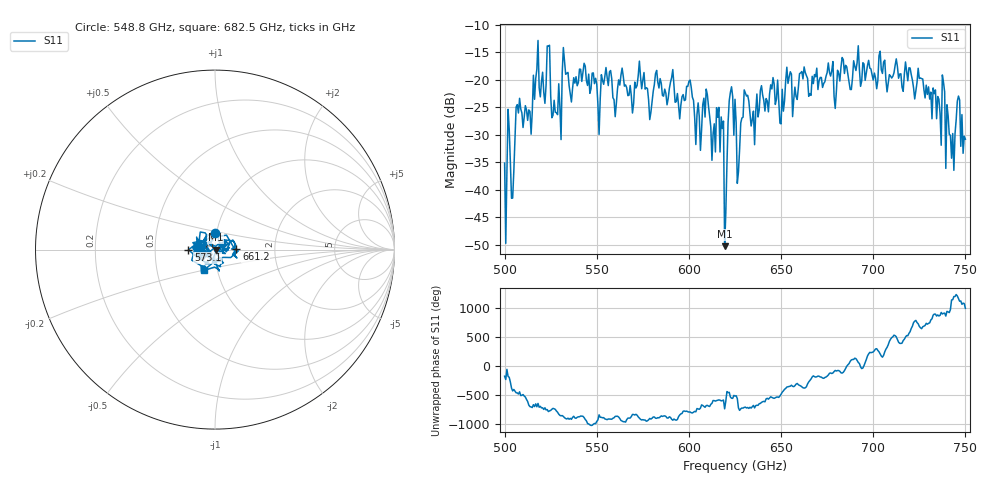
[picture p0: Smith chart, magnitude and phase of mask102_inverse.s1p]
!Created with skrf (http://scikit-rf.org).
# GHz S MA R 50.0
!freq magS11 angS11
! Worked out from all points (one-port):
!   401 points, 500 GHz to 750 GHz, reference 50 ohm
!   lowest |S11| = -50.3 dB at 619.4 GHz (marker M1), VSWR 1.01, Z = 50.3 - j0.097 ohm
!   |S11| at or under -10 dB: start of sweep to end of sweep
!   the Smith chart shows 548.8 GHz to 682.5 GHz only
!   S11 on the Smith chart (normalised r, x): 548.8 GHz: 0.99, +0.18; 573.1 GHz: 0.74, -0.00; 661.2 GHz: 1.27, +0.01; 682.5 GHz: 0.87, -0.20
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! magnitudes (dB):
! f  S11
! 500 GHz  -35.2
! 504.4 GHz  -41.5
! 507.5 GHz  -26.0
! 513.8 GHz  -25.8
! 516.9 GHz  -19.8
! 523.8 GHz  -13.9
! 526.9 GHz  -23.7
! 531.2 GHz  -18.8
! 548.8 GHz  -20.7
! 562.5 GHz  -21.0
! 573.1 GHz  -16.6
! 593.8 GHz  -22.5
! 609.4 GHz  -21.7
! 613.1 GHz  -29.8
! 617.5 GHz  -26.8
! 619.4 GHz  -50.3
! 620.6 GHz  -35.4
! 622.5 GHz  -22.3
! 625 GHz  -23.6
! 626.9 GHz  -36.8
! 631.2 GHz  -23.0
! 634.4 GHz  -27.2
! 656.2 GHz  -26.7
! 661.2 GHz  -18.5
! 682.5 GHz  -17.7
! 687.5 GHz  -21.8
! 718.8 GHz  -20.2
! 750 GHz  -30.8
